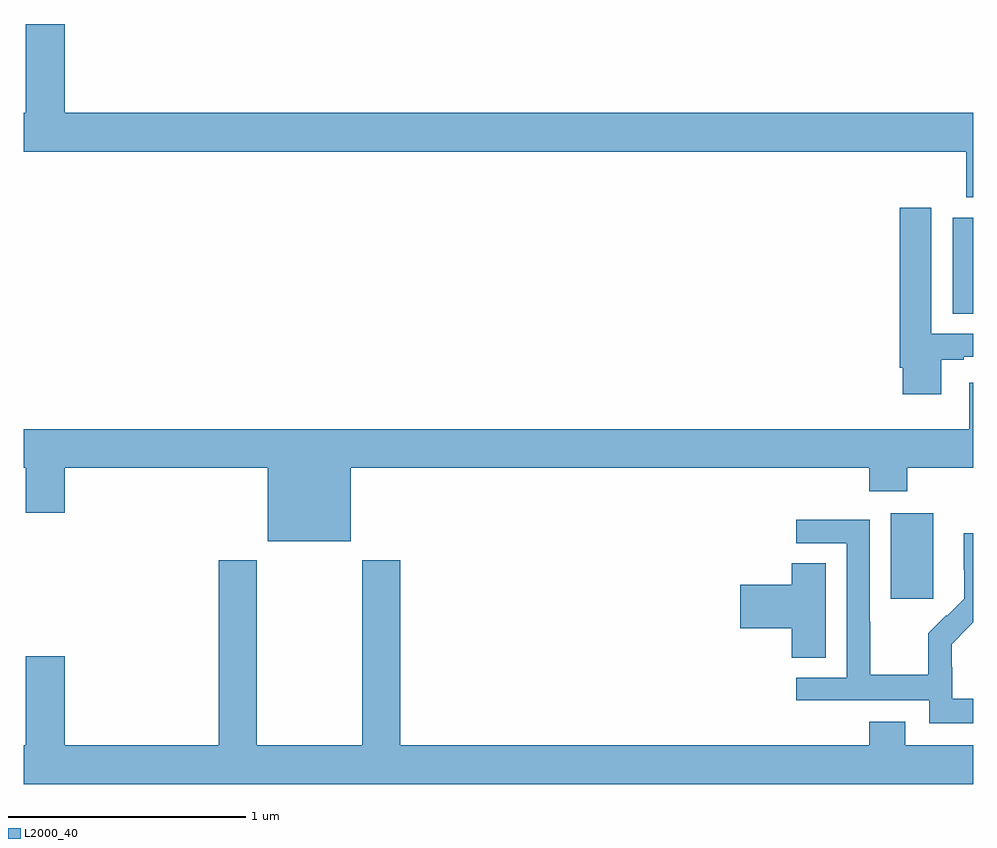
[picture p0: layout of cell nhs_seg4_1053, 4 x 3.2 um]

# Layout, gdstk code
import gdstk
lib = gdstk.Library(unit=1e-6, precision=1e-09)
def R(c, l, rs):  # rectangles x0, y0, x1, y1
    for r in rs: c.add(gdstk.rectangle(r[:2], r[2:], *l))
def P(c, l, *ps):  # polygons
    for p in ps: c.add(gdstk.Polygon(p, *l))
L2000_40 = (2000, 40)

nhs_seg4_1053 = lib.new_cell('nhs_seg4_1053')
R(nhs_seg4_1053, L2000_40, [(168.653,792.273,168.832,792.634), (168.914,793.474,169,793.879)])
P(nhs_seg4_1053, L2000_40, [(169,794.32),(165.172,794.32),(165.172,794.695),(165.008,794.695),(165.008,794.32),(165,794.32),(165,794.156),(168.971,794.156),(168.971,793.964),(169,793.964)],
  [(168.865,793.281),(168.961,793.281),(168.961,793.293),(169,793.293),(169,793.389),(168.823,793.389),(168.823,793.921),(168.692,793.921),(168.692,793.246),(168.704,793.246),(168.704,793.134),(168.865,793.134)],
  [(166.378,792.824),(168.563,792.824),(168.563,792.725),(168.723,792.725),(168.723,792.824),(169,792.824),(169,793.183),(168.983,793.183),(168.983,792.988),(165,792.988),(165,792.824),(165.008,792.824),(165.008,792.636),(165.172,792.636),(165.172,792.824),(166.028,792.824),(166.028,792.515),(166.378,792.515)],
  [(169,791.851),(168.912,791.851),(168.912,791.985),(168.91,791.985),(168.91,792.082),(168.984,792.156),(168.983,792.157),(169,792.174),(169,792.548),(168.96,792.548),(168.96,792.394),(168.962,792.394),(168.962,792.272),(168.891,792.201),(168.888,792.204),(168.811,792.127),(168.811,791.953),(168.567,791.953),(168.567,792.176),(168.564,792.176),(168.564,792.606),(168.255,792.606),(168.255,792.507),(168.468,792.507),(168.468,791.94),(168.255,791.94),(168.255,791.844),(168.816,791.844),(168.816,791.747),(169,791.747)],
  [(169,791.656),(168.715,791.656),(168.715,791.755),(168.563,791.755),(168.563,791.656),(166.586,791.656),(166.586,792.436),(166.426,792.436),(166.426,791.656),(165.981,791.656),(165.981,792.436),(165.821,792.436),(165.821,791.656),(165.172,791.656),(165.172,792.031),(165.008,792.031),(165.008,791.656),(165,791.656),(165,791.492),(169,791.492)],
  [(168.379,792.422),(168.236,792.422),(168.236,792.332),(168.018,792.332),(168.018,792.149),(168.236,792.149),(168.236,792.025),(168.379,792.025)])

lib.write_gds('nhs_seg4_1053.gds')
